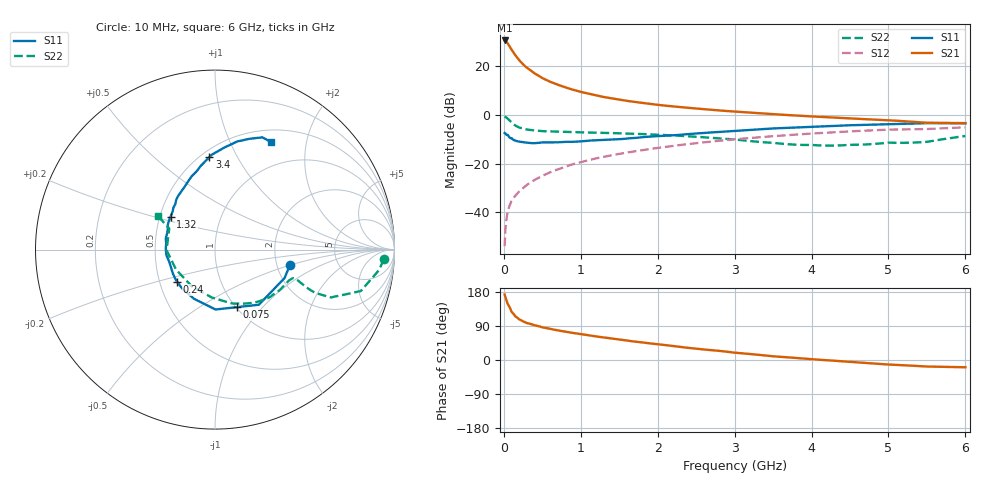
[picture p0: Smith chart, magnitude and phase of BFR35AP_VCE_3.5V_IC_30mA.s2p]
! Infineon Technologies  Discrete & RF Semiconductors
! BFR35AP
! VCE =  3.5 V,  IC =  30 mA
! Common Emitter S-Parameters:  Nov 2015
# GHz  S  MA  R  50
!  f  S11  S21  S12  S22
! GHz  MAG  ANG  MAG  ANG  MAG  ANG  MAG  ANG
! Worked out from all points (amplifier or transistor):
!   210 points, 10 MHz to 6 GHz, reference 50 ohm
!   highest |S21| = 30.7 dB at 10 MHz (marker M1)
!   |S21| within 3 dB of that: start of sweep to 84.7 MHz
!   unconditionally stable (mu >= 1): 239.2 MHz to 3.339 GHz; 5.461 GHz to 5.635 GHz
!   at 185 MHz: K = 0.90, MSG = 27.6 dB, |S12| = -31.9 dB
!   at 1.52 GHz: K = 1.16, MAG = 8.6 dB, |S12| = -15.9 dB
!   at 6 GHz: K = 0.99, MSG = 0.9 dB, |S12| = -5.1 dB
!   S11 on the Smith chart (normalised r, x): 10 MHz: 2.37, -0.48; 75 MHz: 1.01, -0.74; 240 MHz: 0.62, -0.24; 1.32 GHz: 0.57, +0.23; 3.4 GHz: 0.55, +0.78; 6 GHz: 0.66, +1.44
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0.01  0.4265 -11.3  34.23 172.8  0.002 82.2  0.9422 -3.3
0.02  0.4189 -22.2  33.62 165.8  0.0043 81.2  0.9211 -7.1
0.05  0.3926 -51.5  29.88 147.9  0.0103 75.2  0.8443 -15.9
0.075  0.3435 -68.9  25.67 139.2  0.0137 71.0  0.7707 -18.8
0.1  0.3337 -89.5  22.27 127.4  0.0171 68.4  0.6996 -22.4
0.15  0.2981 -113.0  16.91 114.9  0.0218 66.6  0.6044 -23.4
0.2  0.2844 -129.3  13.42 107.2  0.0268 67.5  0.5539 -22.5
0.24  0.2771 -139.4  11.47 103.0  0.0303 68.8  0.528 -21.7
0.3  0.2696 -150.9  9.356 97.5  0.0365 70.7  0.5028 -20.8
0.4  0.2635 -164.3  7.18 91.7  0.0462 72.2  0.4799 -20.0
0.5  0.2728 -173.7  5.76 86.3  0.0559 72.9  0.4654 -20.0
0.6  0.2742 179.3  4.848 82.1  0.0662 72.8  0.4599 -20.4
0.7  0.2742 172.8  4.208 78.1  0.076 72.9  0.4535 -21.3
0.8  0.2814 167.0  3.692 74.7  0.0867 72.1  0.4479 -22.4
1.02  0.2886 155.7  2.943 67.8  0.1092 71.0  0.4385 -25.5
1.32  0.308 143.6  2.315 59.0  0.1401 68.6  0.4282 -30.5
2.02  0.369 122.1  1.602 41.2  0.2126 61.4  0.3919 -44.9
3.1  0.4823 98.2  1.147 17.7  0.3264 47.9  0.3017 -76.4
3.4  0.5168 93.4  1.065 11.9  0.3564 43.8  0.2735 -89.1
4.1  0.5813 83.1  0.918 0.7  0.4246 34.0  0.2369 -128.1
5.1  0.6525 71.5  0.764 -12.9  0.502 18.7  0.2679 175.4
6  0.6753 62.3  0.681 -19.2  0.5587 7.6  0.3704 149.5
